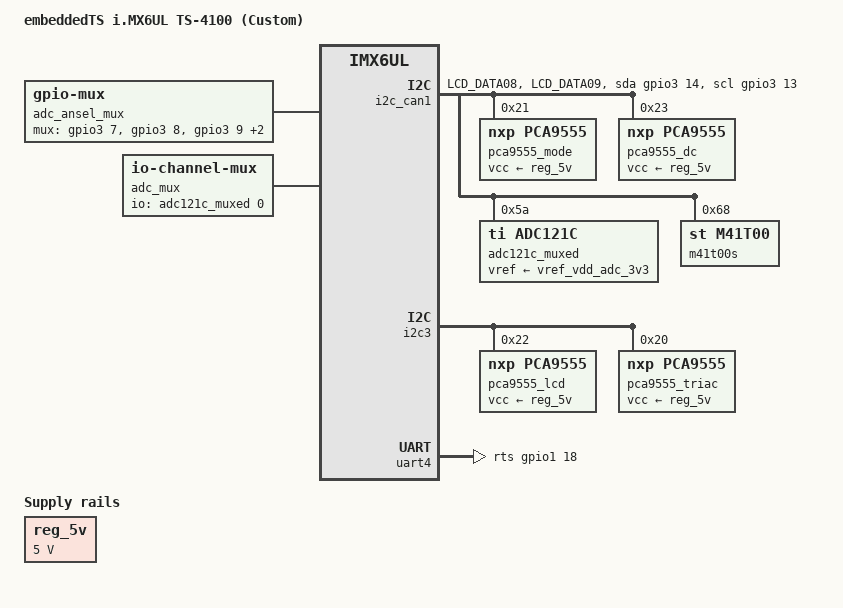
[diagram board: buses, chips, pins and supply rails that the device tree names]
// SPDX-License-Identifier: GPL-2.0 OR X11
/*
 * Copyright (C) 2024 Technologic Systems, Inc. dba embeddedTS
 */

/dts-v1/;
#include "imx6ul-ts4100.dtsi"

/ {
	model = "embeddedTS i.MX6UL TS-4100 (Custom)";
	compatible = "fsl,imx6ul-ts4100", "fsl,imx6ul";
};

/ {
	adc_ansel_mux: mux-controller {
		compatible = "gpio-mux";
		pinctrl-names = "default";
		pinctrl-0 = <&pinctrl_ansel_mux_gpio>;
		#mux-control-cells = <0>;

		/* While there are 32 addresses muxable, only the lower 24 are used */
		mux-gpios = <&gpio3 7 GPIO_ACTIVE_HIGH>,
			    <&gpio3 8 GPIO_ACTIVE_HIGH>,
			    <&gpio3 9 GPIO_ACTIVE_HIGH>,
			    <&gpio3 10 GPIO_ACTIVE_HIGH>,
			    <&gpio3 11 GPIO_ACTIVE_HIGH>;
	};

	adc_mux: adc-mux {
		compatible = "io-channel-mux";
		io-channels = <&adc121c_muxed 0>;
		io-channel-names = "parent";
		#io-channel-cells = <1>;
		mux-controls = <&adc_ansel_mux>;
		settle-time-us = <1000>;

		channels = "JF_1", "JF_3", "JF_5", "JF_7",		// U22 0-3
			   "JG_1", "JG_3", "JG_5", "JG_7",		// U22 4-7
			   "JE_3", "JE_5", "AN_RAW_30V", "AN_24V",	// U20 0-3
			   "AN_12V", "AN5_V", "SBC_3V3", "AN_LCD_BIAS",	// U20 4-7
			   "KN_1", "KN_3", "KN_5", "KN_7",		// U21 0-3
			   "KF_1", "KF_3", "KF_5", "KF_7";		// U21 4-7
	};

	/* This can be used to create a /dev/lcd device which can just have
	 * characters echo'ed to it to draw to the screen.
	 */
	/*
	auxdisplay {
		compatible = "hit,hd44780";
		data-gpios = <&pca9555_lcd 0 GPIO_ACTIVE_HIGH>,
			     <&pca9555_lcd 1 GPIO_ACTIVE_HIGH>,
			     <&pca9555_lcd 2 GPIO_ACTIVE_HIGH>,
			     <&pca9555_lcd 3 GPIO_ACTIVE_HIGH>,
			     <&pca9555_lcd 4 GPIO_ACTIVE_HIGH>,
			     <&pca9555_lcd 5 GPIO_ACTIVE_HIGH>,
			     <&pca9555_lcd 6 GPIO_ACTIVE_HIGH>,
			     <&pca9555_lcd 7 GPIO_ACTIVE_HIGH>;
		enable-gpios = <&pca9555_lcd 10 GPIO_ACTIVE_HIGH>;
		rs-gpios = <&pca9555_lcd 9 GPIO_ACTIVE_HIGH>;
		rw-gpios = <&pca9555_lcd 8 GPIO_ACTIVE_HIGH>;

		// Adjust these as needed
		display-height-chars = <2>;
		display-width-chars = <16>;
	};
	*/


	i2c_can1: i2c_can1 {
		compatible = "i2c-gpio";
		pinctrl-names = "default";
		pinctrl-0 = <&pinctrl_i2c_can1_gpio>;
		sda-gpios = <&gpio3 14 (GPIO_ACTIVE_HIGH|GPIO_OPEN_DRAIN)>;
		scl-gpios = <&gpio3 13 (GPIO_ACTIVE_HIGH|GPIO_OPEN_DRAIN)>;
		#address-cells = <1>;
		#size-cells = <0>;

		pca9555_mode: gpio@21 {
			compatible = "nxp,pca9555";
			gpio-controller;
			vcc-supply = <&reg_5v>;
			#gpio-cells = <2>;

			reg = <0x21>;

			gpio-line-names =
				"MODE.1.1",
				"MODE.1.2",
				"MODE.1.3",
				"MODE.1.4",
				"MODE.1.5",
				"MODE.1.6",
				"MODE.2.1",
				"MODE.2.2",
				"MODE.2.3",
				"MODE.2.4",
				"MODE.2.5",
				"MODE.2.6",
				"NO_CHRG_JP#",
				"EN_30V_HS_SW",
				"EN_BLK_24V",
				"SW_24V";
		};

		pca9555_dc: gpio@23 {
			compatible = "nxp,pca9555";
			gpio-controller;
			vcc-supply = <&reg_5v>;
			#gpio-cells = <2>;
	
			reg = <0x23>;

			gpio-line-names =
				"DC_01",
				"DC_02",
				"DC_03",
				"DC_04",
				"DC_05",
				"DC_06",
				"DC_07",
				"DC_08",
				"DC_09",
				"DC_10",
				"DC_11",
				"FWD_1#",
				"REV_1#",
				"FWD_2#",
				"REV_2#",
				"EN_24V_SUPPLY";
		};

		adc121c_muxed: adc@5a {
			compatible = "ti,adc121c";
			#io-channel-cells = <1>;
			vref-supply = <&vref_vdd_adc_3v3>;
			reg = <0x5a>;
		/* HAS GPIO MUX! */
		/* MUST WAIT 1 ms AFTER CHANGING MUX BEFORE READ! */
		};

		m41t00s: rtc@68 {
			compatible = "st,m41t00";
			reg = <0x68>;
		};

	};

	reg_5v: regulator-5v {
		compatible = "regulator-fixed";
		regulator-name = "5V";
		regulator-min-microvolt = <5000000>;
		regulator-max-microvolt = <5000000>;
		regulator-always-on;
	};
};

&can1 {
	status = "disabled";
};

&can2 {
	status = "disabled";
};

&gpio1 {
	gpio-line-names = "USB_OTG_ID", "GPIO_1_ADC", "I2C_1_CLK", "I2C_1_DAT",
		"EN_OTG1_5V", "", "", "", "GPIO_8_PWM", "GPIO_9_ADC", "",
		"ONBD_ROTARY_A", "", "", "", "", "", "", "SPARE_1", "SPARE_2",
		"", "ROTARY_PUSH#", "", "", "", "FREQ_2_CBAR", "", "WIND_CBAR",
		"", "", "", "JB_5";
};

&gpio3 {
	gpio-line-names = "LCD_PIX_CLK", "EN_LCD_3.3V", "LCD_HSYNC", "LCD_VSYNC",
		"", "I2C_3_DAT", "I2C_3_CLK", "AN_MUX_A0", "AN_MUX_A1", "AN_MUX_A2",
		"AN_MUX_A3", "AN_MUX_A6", "LCD_D07", "", "", "60_SECOND#", "PEAK_AC#",
		"LCD_D12", "LCD_D13", "JB_3", "JB_7", "", "JB_1", "LCD_D18_PWM5",
		"LCD_D19_PWM6", "LCD_D20", "LCD_D21", "BUF_FREQ1", "LCD_D23";
};

&gpio4 {
	gpio-line-names = "", "", "", "", "", "", "", "", "", "", "", "FPGA_RESET#",
		"", "", "", "", "", "CAM_MCLK", "CAM_PIX_CLK", "CAM_VSYNC",
		"CAM_HSYNC", "ONBD_ROTARY_B", "OFFBD_ROTARY_A", "OFFBD_ROTARY_B",
		"CAM_D_3", "CAM_D_4", "CAM_D_5", "CAM_D_6", "CAM_D_7";
};

&i2c3 {
	pca9555_lcd: gpio@22 {
		compatible = "nxp,pca9555";
		gpio-controller;
		vcc-supply = <&reg_5v>;
		#gpio-cells = <2>;

		reg = <0x22>;

		gpio-line-names =
			"CHAR_LCD_D0",
			"CHAR_LCD_D1",
			"CHAR_LCD_D2",
			"CHAR_LCD_D3",
			"CHAR_LCD_D4",
			"CHAR_LCD_D5",
			"CHAR_LCD_D6",
			"CHAR_LCD_D7",
			"CHAR_LCD_RW",
			"CHAR_LCD_RS",
			"CHAR_LCD_EN",
			"TP_20",
			"JA_1",
			"JA_3",
			"JA_5",
			"JA_7";
	};

	pca9555_triac: gpio@20 {
		compatible = "nxp,pca9555";
		gpio-controller;
		vcc-supply = <&reg_5v>;
		#gpio-cells = <2>;

		reg = <0x20>;

		gpio-line-names =
			"TRIAC_01",
			"TRIAC_02",
			"TRIAC_03",
			"TRIAC_04",
			"TRIAC_05",
			"TRIAC_06",
			"TRIAC_07",
			"TRIAC_08",
			"TRIAC_09",
			"TRIAC_10",
			"TRIAC_11",
			"TRIAC_12",
			"TRIAC_13",
			"TRIAC_14",
			"TRIAC_15",
			"TRIAC_16";
	};
};

&iomuxc {
	pinctrl-names = "default";
        pinctrl-0 = <&ts4100_pinctrl_hog &pinctrl_hog28 &pinctrl_onboard_encoder &pinctrl_offboard_encoder &pinctrl_onoffboard_encoder_push>;
	imx6ul-ts4100-28 {
		pinctrl_hog28: hog28grp {
			fsl,pins = <
				/* ttymxc2 rx passthrough from CN2_100/UARTD RX */
				MX6UL_PAD_UART3_RX_DATA__GPIO1_IO25	0x1b020
				/* ttymxc2 rts passed through from CN2_96/UARTC RX */
				MX6UL_PAD_UART3_RTS_B__GPIO1_IO27	0x1a020
				/* 60 second */
				MX6UL_PAD_LCD_DATA10__GPIO3_IO15	0x1b020
				/* Peak AC two locations */
				MX6UL_PAD_LCD_DATA11__GPIO3_IO16	0x1b020
				MX6UL_PAD_UART2_RTS_B__GPIO1_IO23	0x1b020
				/* JB pin 1 */
				MX6UL_PAD_LCD_DATA17__GPIO3_IO22	0x1b020
				/* JB pin 3 */
				MX6UL_PAD_LCD_DATA14__GPIO3_IO19	0x1b020
				/* JB pin 5 */
				MX6UL_PAD_UART5_RX_DATA__GPIO1_IO31	0x1b020
				/* JB pin 7 */
				MX6UL_PAD_LCD_DATA15__GPIO3_IO20	0x1b020
				/* BUF_FREQ_1 non-CBAR */
				MX6UL_PAD_LCD_DATA22__GPIO3_IO27	0x1b020
				/* Loopback cable detection for internal test */
				MX6UL_PAD_LCD_HSYNC__GPIO3_IO02		0x1b020
				
			>;
		};

		pinctrl_i2c_can1_gpio: i2ccan1gpiogrp {
			fsl,pins = <
				MX6UL_PAD_LCD_DATA08__GPIO3_IO13	0x1a020
				MX6UL_PAD_LCD_DATA09__GPIO3_IO14	0x1a020
			>;
		};

		pinctrl_ansel_mux_gpio: anselmuxgpiogrp {
			fsl,pins = <
				MX6UL_PAD_LCD_DATA02__GPIO3_IO07	0x13020
				MX6UL_PAD_LCD_DATA03__GPIO3_IO08	0x13020
				MX6UL_PAD_LCD_DATA04__GPIO3_IO09	0x13020
				MX6UL_PAD_LCD_DATA05__GPIO3_IO10	0x13020
				MX6UL_PAD_LCD_DATA06__GPIO3_IO11	0x13020
			>;
		};

		pinctrl_onboard_encoder: onboardencodergrp {
			fsl,pins = <
				MX6UL_PAD_CSI_DATA00__GPIO4_IO21	0x1a020
				MX6UL_PAD_JTAG_TMS__GPIO1_IO11		0x1a020
			>;
		};

		pinctrl_offboard_encoder: offboardencodergrp {
			fsl,pins = <
				MX6UL_PAD_CSI_DATA01__GPIO4_IO22	0x1a020
				MX6UL_PAD_CSI_DATA02__GPIO4_IO23	0x1a020
			>;
		};

		pinctrl_onoffboard_encoder_push: encoderpushgrp {
			fsl,pins = <
				MX6UL_PAD_UART2_RX_DATA__GPIO1_IO21	0x1b020
			>;
		};
	};
};

&uart4 {
	uart-has-rtscts;
	/* gpio 1_18 is initialized by the hog group in 4100.dtsi
	 * It is the SPARE_1 pin, needs to be set up in FPGA to pass to TXEN
	 * with the command 'tshwctl --out 0x31 --in 0x1'
	 */
	rts-gpios = <&gpio1 18 GPIO_ACTIVE_HIGH>;
	dma-names = "", "";
	linux,rs485-enabled-at-boot-time;
};

&uart2 {
	status = "disabled";
};

&uart3 {
	status = "disabled";
};

&uart7 {
	status = "disabled";
};

&uart5 {
	status = "disabled";
};
